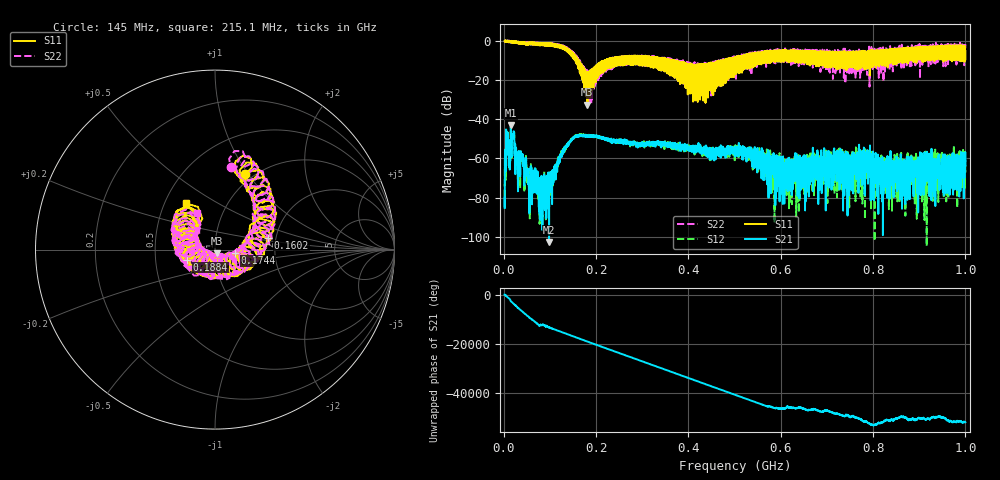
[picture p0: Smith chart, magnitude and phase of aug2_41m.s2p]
!Keysight Technologies N9923A: A.12.45
!Date: Saturday, 02 August 2025 19:56:32
!Timezone: (UTC+08:00) Kuala Lumpur, Singapore
!Model: N9923A
!Serial: MY61181427
!GPS Latitude:
!GPS Longitude:
!GPS TimeStamp: 0001-01-01 00:00:00Z
!GPS Seconds Since Last Read: 0
!CHECKSUM:0114060280
!Correction: S11(ON U)S21(ON U)S12(ON U)S22(ON U)
!S2P File: Measurements:S11,S21,S12,S22:
# Hz S DB R 50
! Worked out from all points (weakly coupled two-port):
!   4001 points, 2 MHz to 1 GHz, reference 50 ohm
!   highest |S21| = -43.07 dB at 15.47 MHz (marker M1); lowest = -102.5 dB at 98.31 MHz (marker M2)
!   lowest |S11| = -32.6 dB at 181.1 MHz (marker M3), VSWR 1.05, Z = 51 - j2.15 ohm
!   |S11| at or under -10 dB: 162.4 MHz to 218.5 MHz (56.15 MHz wide, 29.5 % of centre); 218.6 MHz to 220.1 MHz (1.47 MHz wide, 0.67 % of centre); 369.5 MHz to 473 MHz (103.5 MHz wide, 24.6 % of centre) (the widest 3 of 357)
!   |S22| runs from -32.1 to 0.2 dB; largest |S21 - S12| = 0.0023
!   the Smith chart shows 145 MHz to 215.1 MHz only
!   S11 on the Smith chart (normalised r, x): 145 MHz: 0.91, +0.97; 160.2 MHz: 1.81, +0.27; 174.4 MHz: 1.25, -0.05; 188.4 MHz: 0.73, -0.08; 215.1 MHz: 0.64, +0.36
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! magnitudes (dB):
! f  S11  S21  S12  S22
! 2 MHz  -0.1  -79.9  -84.7  -0.1
! 7.489 MHz  -0.6  -46.8  -46.8  -0.7
! 15.47 MHz  -0.5  -43.1  -42.9  -0.4
! 19.96 MHz  -0.3  -49.8  -50.0  -0.1
! 30.94 MHz  -1.3  -76.7  -73.4  -1.3
! 80.09 MHz  -1.5  -74.7  -84.9  -1.5
! 98.31 MHz  -2.1  -102.5  -83.3  -2.3
! 145 MHz  -6.9  -50.6  -50.5  -6.6
! 160.2 MHz  -10.4  -48.4  -48.7  -11.1
! 168.4 MHz  -14.9  -47.9  -47.9  -16.0
! 174.4 MHz  -19.0  -48.5  -48.2  -15.0
! 181.1 MHz  -32.6  -48.8  -48.8  -19.2
! 188.4 MHz  -15.7  -48.1  -48.6  -19.0
! 215.1 MHz  -10.4  -49.6  -49.7  -12.8
! 334.8 MHz  -12.4  -52.4  -52.0  -8.8
! 415.4 MHz  -30.4  -54.5  -54.6  -13.5
! 501 MHz  -11.6  -54.6  -54.4  -12.6
! 611.8 MHz  -6.8  -63.3  -65.6  -7.1
! 667.4 MHz  -5.7  -62.5  -61.9  -9.7
! 791.9 MHz  -5.2  -61.7  -61.5  -6.7
! 833.8 MHz  -5.3  -59.4  -74.8  -5.3
! 1 GHz  -5.2  -63.4  -68.0  -1.8
